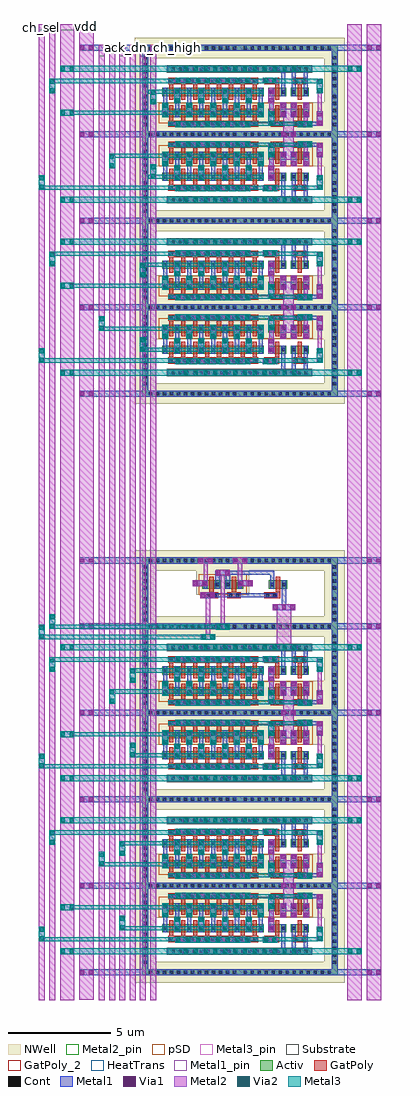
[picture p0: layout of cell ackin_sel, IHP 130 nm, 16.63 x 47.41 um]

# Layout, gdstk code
from math import pi, radians
import gdstk
lib = gdstk.Library(unit=1e-6, precision=1e-09)
def R(c, l, rs):  # rectangles x0, y0, x1, y1
    for r in rs: c.add(gdstk.rectangle(r[:2], r[2:], *l))
def A(c, l, x, y, w, h, nx, ny, dx, dy):  # array of equal rectangles
    R(c, l, [(x+i*dx, y+j*dy, x+i*dx+w, y+j*dy+h) for i in range(nx) for j in range(ny)])
def P(c, l, *ps):  # polygons
    for p in ps: c.add(gdstk.Polygon(p, *l))
Activ = (1, 0)
GatPoly = (5, 0)
GatPoly_2 = (5, 2)
Cont = (6, 0)
Metal1 = (8, 0)
Metal1_pin = (8, 2)
Metal2 = (10, 0)
Metal2_pin = (10, 2)
pSD = (14, 0)
Via1 = (19, 0)
Via2 = (29, 0)
Metal3 = (30, 0)
Metal3_pin = (30, 2)
NWell = (31, 0)
Substrate = (40, 0)
HeatTrans = (51, 0)

nmos = lib.new_cell('nmos')
R(nmos, Activ, [(0,0,0.3,0.3), (0,0,0.88,0.4), (0.58,0,0.88,0.3)])
R(nmos, GatPoly, [(0.34,-0.18,0.54,0.58)])
R(nmos, GatPoly_2, [(0.34,-0.18,0.54,0.58)])
R(nmos, Cont, [(0.07,0.12,0.23,0.28), (0.65,0.12,0.81,0.28)])
R(nmos, Metal1, [(0.07,0,0.23,0.4), (0.65,0,0.81,0.4)])
R(nmos, Metal1_pin, [(0.07,0,0.23,0.4), (0.65,0,0.81,0.4)])
R(nmos, HeatTrans, [(0.34,-0.18,0.54,0.58)])
nmos.add(gdstk.Label('nmos', (0.44,0.2), layer=63, texttype=0))
nmos.add(gdstk.Label('nmos', (0.44,0.2), layer=51, texttype=0))

pmos = lib.new_cell('pmos')
R(pmos, Activ, [(0,0,0.3,0.3), (0,0,0.88,0.4), (0.58,0,0.88,0.3)])
R(pmos, GatPoly, [(0.34,-0.18,0.54,0.58), (0.34,-0.18,0.54,0.58)])
R(pmos, Cont, [(0.07,0.12,0.23,0.28), (0.65,0.12,0.81,0.28)])
R(pmos, Metal1, [(0.07,0,0.23,0.4), (0.07,0,0.23,0.4), (0.65,0,0.81,0.4), (0.65,0,0.81,0.4)])
R(pmos, pSD, [(-0.18,-0.3,1.06,0.7)])
R(pmos, NWell, [(-0.31,-0.31,1.19,0.71)])
R(pmos, Substrate, [(0.58,0,0.88,0.3)])
R(pmos, HeatTrans, [(0.34,-0.18,0.54,0.58)])
pmos.add(gdstk.Label('pmos', (0.44,0.2), layer=63, texttype=0))
pmos.add(gdstk.Label('pmos', (0.44,0.2), layer=51, texttype=0))

viagpcont_m1 = lib.new_cell('ViaGPCont_M1')
R(viagpcont_m1, GatPoly, [(-2.19,-0.15,2.19,0.15)])
A(viagpcont_m1, Cont, -2.12, -0.08, 0.16, 0.16, 13, 1, 0.34, 0)
R(viagpcont_m1, Metal1, [(-2.17,-0.08,2.17,0.08)])

viagpcont_m1_1 = lib.new_cell('ViaGPCont_M1$1')
R(viagpcont_m1_1, GatPoly, [(-0.32,-0.15,0.32,0.15)])
R(viagpcont_m1_1, Cont, [(-0.25,-0.08,-0.09,0.08), (0.09,-0.08,0.25,0.08)])
R(viagpcont_m1_1, Metal1, [(-0.3,-0.08,0.3,0.08)])

via_stack = lib.new_cell('via_stack')
R(via_stack, Metal1, [(-0.145,-0.35,0.145,0.35)])
R(via_stack, Metal2, [(-0.145,-0.35,0.145,0.35)])
R(via_stack, Via1, [(-0.095,-0.3,0.095,-0.11), (-0.095,0.11,0.095,0.3)])
R(via_stack, Via2, [(-0.095,-0.3,0.095,-0.11), (-0.095,0.11,0.095,0.3)])
R(via_stack, Metal3, [(-0.145,-0.35,0.145,0.35)])

via_stack_1 = lib.new_cell('via_stack$1')
R(via_stack_1, Metal1, [(-0.145,-1.825,0.145,1.825)])
R(via_stack_1, Metal2, [(-0.145,-1.825,0.145,1.825)])
A(via_stack_1, Via1, -0.095, -1.775, 0.19, 0.19, 1, 8, 0, 0.48)
A(via_stack_1, Via2, -0.095, -1.775, 0.19, 0.19, 1, 8, 0, 0.48)
R(via_stack_1, Metal3, [(-0.145,-1.825,0.145,1.825)])

via_stack_2 = lib.new_cell('via_stack$2')
R(via_stack_2, Metal1, [(-0.145,-0.35,0.145,0.35)])
R(via_stack_2, Metal2, [(-0.145,-0.35,0.145,0.35)])
R(via_stack_2, Via1, [(-0.095,-0.3,0.095,-0.11), (-0.095,0.11,0.095,0.3)])

via_stack_3 = lib.new_cell('via_stack$3')
R(via_stack_3, Metal2, [(-0.145,-0.35,0.145,0.35)])
R(via_stack_3, Via2, [(-0.095,-0.3,0.095,-0.11), (-0.095,0.11,0.095,0.3)])
R(via_stack_3, Metal3, [(-0.145,-0.35,0.145,0.35)])

via_stack_4 = lib.new_cell('via_stack$4')
R(via_stack_4, Metal2, [(-0.35,-0.145,0.35,0.145)])
R(via_stack_4, Via2, [(-0.3,-0.095,-0.11,0.095), (0.11,-0.095,0.3,0.095)])
R(via_stack_4, Metal3, [(-0.35,-0.145,0.35,0.145)])

via_stack_5 = lib.new_cell('via_stack$5')
R(via_stack_5, Metal1, [(-0.35,-0.145,0.35,0.145)])
R(via_stack_5, Metal2, [(-0.35,-0.145,0.35,0.145)])
R(via_stack_5, Via1, [(-0.3,-0.095,-0.11,0.095), (0.11,-0.095,0.3,0.095)])
R(via_stack_5, Via2, [(-0.3,-0.095,-0.11,0.095), (0.11,-0.095,0.3,0.095)])
R(via_stack_5, Metal3, [(-0.35,-0.145,0.35,0.145)])

ptap = lib.new_cell('PTap')
R(ptap, Activ, [(-3.5,-0.15,3.5,0.15)])
A(ptap, Cont, -3.31, -0.08, 0.16, 0.16, 20, 1, 0.34, 0)
R(ptap, Metal1, [(-3.5,-0.15,3.5,0.15)])
R(ptap, pSD, [(-3.53,-0.18,3.53,0.18)])
R(ptap, Substrate, [(-3.53,-0.18,3.53,0.18)])

via_stack_6 = lib.new_cell('via_stack$6')
R(via_stack_6, Metal1, [(-0.35,-0.145,0.35,0.145)])
R(via_stack_6, Metal2, [(-0.35,-0.145,0.35,0.145)])
R(via_stack_6, Via1, [(-0.3,-0.095,-0.11,0.095), (0.11,-0.095,0.3,0.095)])

guardring_wonwellpsub = lib.new_cell('Guardring_wonwellpsub')
P(guardring_wonwellpsub, Activ, [(-4.75,-2.25),(-4.75,1.95),(-4.45,1.95),(-4.45,-1.95),(4.45,-1.95),(4.45,1.95),(-4.75,1.95),(-4.75,2.25),(4.75,2.25),(4.75,-2.25)])
A(guardring_wonwellpsub, Cont, -4.42, -2.18, 0.16, 0.16, 13, 2, 0.34, 4.2)
A(guardring_wonwellpsub, Cont, 0.18, -2.18, 0.16, 0.16, 13, 2, 0.34, 4.2)
A(guardring_wonwellpsub, Cont, -4.68, -1.7, 0.16, 0.16, 1, 5, 0, 0.34)
A(guardring_wonwellpsub, Cont, 4.52, -1.7, 0.16, 0.16, 1, 5, 0, 0.34)
A(guardring_wonwellpsub, Cont, -4.68, 0.18, 0.16, 0.16, 1, 5, 0, 0.34)
A(guardring_wonwellpsub, Cont, 4.52, 0.18, 0.16, 0.16, 1, 5, 0, 0.34)
P(guardring_wonwellpsub, Metal1, [(-4.75,-2.25),(-4.75,1.95),(-4.45,1.95),(-4.45,-1.95),(4.45,-1.95),(4.45,1.95),(-4.75,1.95),(-4.75,2.25),(4.75,2.25),(4.75,-2.25)])

tgate = lib.new_cell('tgate')
R(tgate, GatPoly, [(6.67,1.96,6.77,2.26)])
R(tgate, Metal1_pin, [(1.335,1.37,1.635,1.67), (0.4,4.55,0.7,4.85)])
R(tgate, Metal3_pin, [(0.4,2.01,0.6,2.21), (0.4,2.54,0.6,2.74), (0.4,3.56,0.6,3.76)])
R(tgate, NWell, [(-0.25,0,0.75,3.15), (0.75,0,8.95,1), (8.95,0,9.95,3.15), (-0.25,3.15,9.95,5.2)])
tgate.add(gdstk.FlexPath([(1.225,3.86),(1.225,2.44)], 0.2, ends="flush", simple_path=True, layer=8, datatype=0))  # Metal1
tgate.add(gdstk.FlexPath([(1.805,3.86),(1.805,2.44)], 0.2, ends="flush", simple_path=True, layer=8, datatype=0))  # Metal1
tgate.add(gdstk.FlexPath([(2.385,3.86),(2.385,2.44)], 0.2, ends="flush", simple_path=True, layer=8, datatype=0))  # Metal1
tgate.add(gdstk.FlexPath([(2.965,3.86),(2.965,2.44)], 0.2, ends="flush", simple_path=True, layer=8, datatype=0))  # Metal1
tgate.add(gdstk.FlexPath([(3.545,3.86),(3.545,2.44)], 0.2, ends="flush", simple_path=True, layer=8, datatype=0))  # Metal1
tgate.add(gdstk.FlexPath([(4.125,3.86),(4.125,2.44)], 0.2, ends="flush", simple_path=True, layer=8, datatype=0))  # Metal1
tgate.add(gdstk.FlexPath([(4.705,3.86),(4.705,2.44)], 0.2, ends="flush", simple_path=True, layer=8, datatype=0))  # Metal1
tgate.add(gdstk.FlexPath([(5.285,3.86),(5.285,2.44)], 0.2, ends="flush", simple_path=True, layer=8, datatype=0))  # Metal1
tgate.add(gdstk.FlexPath([(5.865,3.86),(5.865,2.44)], 0.2, ends="flush", simple_path=True, layer=8, datatype=0))  # Metal1
tgate.add(gdstk.FlexPath([(6.38,3.86),(6.38,2.44)], 0.2, ends="flush", simple_path=True, layer=8, datatype=0))  # Metal1
tgate.add(gdstk.FlexPath([(8.05,2.84),(8.05,1.37)], 0.2, ends="flush", simple_path=True, layer=8, datatype=0))  # Metal1
tgate.add(gdstk.FlexPath([(6.26,4.19),(8.82,4.19)], 0.2, ends="flush", simple_path=True, layer=8, datatype=0))  # Metal1
tgate.add(gdstk.FlexPath([(7.47,2.84),(7.47,1.37)], 0.2, ends="flush", simple_path=True, layer=8, datatype=0))  # Metal1
tgate.add(gdstk.FlexPath([(7.76,2.11),(8.135,2.11)], 0.2, ends="flush", simple_path=True, layer=8, datatype=0))  # Metal1
tgate.add(gdstk.FlexPath([(7.76,2.11),(7.37,2.11)], 0.2, ends="flush", simple_path=True, layer=8, datatype=0))  # Metal1
tgate.add(gdstk.FlexPath([(6.96,2.84),(6.96,1.37)], 0.2, ends="flush", simple_path=True, layer=8, datatype=0))  # Metal1
tgate.add(gdstk.FlexPath([(8.72,2.01),(8.72,4.29)], 0.2, ends="flush", simple_path=True, layer=10, datatype=0))  # Metal2
tgate.add(gdstk.FlexPath([(7.205,3.46),(7.205,4.845)], 0.5, ends="flush", simple_path=True, layer=10, datatype=0))  # Metal2
tgate.add(gdstk.FlexPath([(6.38,2.44),(6.38,4.29)], 0.2, ends="flush", simple_path=True, layer=10, datatype=0))  # Metal2
tgate.add(gdstk.FlexPath([(8.05,3.46),(8.05,4.29)], 0.2, ends="flush", simple_path=True, layer=10, datatype=0))  # Metal2
tgate.add(gdstk.FlexPath([(6.015,3.66),(0.4,3.66)], 0.2, ends="flush", simple_path=True, layer=30, datatype=0))  # Metal3
tgate.add(gdstk.FlexPath([(6.015,2.64),(0.4,2.64)], 0.2, ends="flush", simple_path=True, layer=30, datatype=0))  # Metal3
tgate.add(gdstk.FlexPath([(5.715,2.11),(0.4,2.11)], 0.2, ends="flush", simple_path=True, layer=30, datatype=0))  # Metal3
tgate.add(gdstk.FlexPath([(8.15,4.19),(1.375,4.19)], 0.2, ends="flush", simple_path=True, layer=30, datatype=0))  # Metal3
tgate.add(gdstk.FlexPath([(6,2.11),(8.82,2.11)], 0.2, ends="flush", simple_path=True, layer=30, datatype=0))  # Metal3
tgate.add(gdstk.FlexPath([(5.715,2.11),(6.015,2.11)], 0.2, ends="flush", simple_path=True, layer=30, datatype=0))  # Metal3
tgate.add(gdstk.Reference(nmos, (1.075,2.44)))
tgate.add(gdstk.Reference(nmos, (1.655,2.44)))
tgate.add(gdstk.Reference(nmos, (2.235,2.44)))
tgate.add(gdstk.Reference(nmos, (2.815,2.44)))
tgate.add(gdstk.Reference(nmos, (3.975,2.44)))
tgate.add(gdstk.Reference(nmos, (4.555,2.44)))
tgate.add(gdstk.Reference(nmos, (5.135,2.44)))
tgate.add(gdstk.Reference(pmos, (1.075,3.46)))
tgate.add(gdstk.Reference(pmos, (1.655,3.46)))
tgate.add(gdstk.Reference(pmos, (2.235,3.46)))
tgate.add(gdstk.Reference(pmos, (2.815,3.46)))
tgate.add(gdstk.Reference(pmos, (3.395,3.46)))
tgate.add(gdstk.Reference(pmos, (3.975,3.46)))
tgate.add(gdstk.Reference(pmos, (4.555,3.46)))
tgate.add(gdstk.Reference(pmos, (7.11,3.46), rotation=pi, x_reflection=True))
tgate.add(gdstk.Reference(pmos, (5.135,3.46)))
tgate.add(gdstk.Reference(pmos, (7.32,3.46)))
tgate.add(gdstk.Reference(nmos, (3.395,2.44)))
tgate.add(gdstk.Reference(nmos, (7.11,2.44), rotation=pi, x_reflection=True))
tgate.add(gdstk.Reference(nmos, (7.32,2.44)))
tgate.add(gdstk.Reference(viagpcont_m1, (3.545,4.19)))
tgate.add(gdstk.Reference(viagpcont_m1, (3.545,2.11)))
tgate.add(gdstk.Reference(viagpcont_m1_1, (6.67,4.19), rotation=pi, x_reflection=True))
tgate.add(gdstk.Reference(viagpcont_m1_1, (7.76,4.19)))
tgate.add(gdstk.Reference(via_stack, (1.225,3.51)))
tgate.add(gdstk.Reference(via_stack, (1.805,2.84)))
tgate.add(gdstk.Reference(via_stack, (2.385,3.51)))
tgate.add(gdstk.Reference(via_stack, (3.545,3.51)))
tgate.add(gdstk.Reference(via_stack, (4.705,3.51)))
tgate.add(gdstk.Reference(via_stack, (5.865,3.51)))
tgate.add(gdstk.Reference(via_stack, (2.965,2.84)))
tgate.add(gdstk.Reference(via_stack, (4.125,2.84)))
tgate.add(gdstk.Reference(via_stack, (5.285,2.84)))
tgate.add(gdstk.Reference(via_stack_1, (3.53,4.215), rotation=3*pi/2))
tgate.add(gdstk.Reference(via_stack_1, (3.53,2.085), rotation=3*pi/2))
tgate.add(gdstk.Reference(via_stack_2, (6.38,2.84), rotation=pi, x_reflection=True))
tgate.add(gdstk.Reference(via_stack_2, (8.06,3.51)))
tgate.add(gdstk.Reference(via_stack_3, (6.38,3.94), rotation=pi, x_reflection=True))
tgate.add(gdstk.Reference(via_stack_4, (8.015,4.215)))
tgate.add(gdstk.Reference(via_stack_2, (7.47,3.51)))
tgate.add(gdstk.Reference(viagpcont_m1_1, (7.76,2.11)))
tgate.add(gdstk.Reference(via_stack_2, (6.96,3.51), rotation=pi, x_reflection=True))
tgate.add(gdstk.Reference(via_stack_5, (6.3,2.085), rotation=pi, x_reflection=True))
tgate.add(gdstk.Reference(via_stack_2, (8.72,3.94)))
tgate.add(gdstk.Reference(viagpcont_m1_1, (6.35,2.11)))
tgate.add(gdstk.Reference(via_stack_3, (8.72,2.36)))
tgate.add(gdstk.Reference(ptap, (4.835,1.52)))
tgate.add(gdstk.Reference(via_stack_6, (7.205,4.7)))
tgate.add(gdstk.Reference(guardring_wonwellpsub, (4.85,2.6)))
tgate.add(gdstk.Label('sel', (0.5,2.11), layer=30, texttype=25))
tgate.add(gdstk.Label('out', (0.5,2.64), layer=30, texttype=25))
tgate.add(gdstk.Label('in', (0.5,3.66), layer=30, texttype=25))
tgate.add(gdstk.Label('vdd', (0.55,4.7), layer=8, texttype=25))
tgate.add(gdstk.Label('vss', (1.485,1.52), layer=8, texttype=25))

via_stack_4_1 = lib.new_cell('via_stack$4$1')
R(via_stack_4_1, Metal2, [(-0.35,-0.145,0.35,0.145)])
R(via_stack_4_1, Via2, [(-0.3,-0.095,-0.11,0.095), (0.11,-0.095,0.3,0.095)])
R(via_stack_4_1, Metal3, [(-0.35,-0.145,0.35,0.145)])

via_stack_6_3 = lib.new_cell('via_stack$6$3')
R(via_stack_6_3, Metal1, [(-0.35,-0.145,0.35,0.145)])
R(via_stack_6_3, Metal2, [(-0.35,-0.145,0.35,0.145)])
R(via_stack_6_3, Via1, [(-0.3,-0.095,-0.11,0.095), (0.11,-0.095,0.3,0.095)])

via_stack_3_4 = lib.new_cell('via_stack$3$4')
R(via_stack_3_4, Metal2, [(-0.145,-0.35,0.145,0.35)])
R(via_stack_3_4, Via2, [(-0.095,-0.3,0.095,-0.11), (-0.095,0.11,0.095,0.3)])
R(via_stack_3_4, Metal3, [(-0.145,-0.35,0.145,0.35)])

via_stack_3_1 = lib.new_cell('via_stack$3$1')
R(via_stack_3_1, Metal1, [(-2.785,-0.145,2.785,0.145)])
R(via_stack_3_1, Metal2, [(-2.785,-0.145,2.785,0.145)])
A(via_stack_3_1, Via1, -2.735, -0.095, 0.19, 0.19, 12, 1, 0.48, 0)
A(via_stack_3_1, Via2, -2.735, -0.095, 0.19, 0.19, 12, 1, 0.48, 0)
R(via_stack_3_1, Metal3, [(-2.785,-0.145,2.785,0.145)])

nmos_2 = lib.new_cell('nmos$2')
R(nmos_2, Activ, [(0,0,0.3,0.3), (0,0,0.88,0.4), (0.58,0,0.88,0.3)])
R(nmos_2, GatPoly, [(0.34,-0.18,0.54,0.58)])
R(nmos_2, GatPoly_2, [(0.34,-0.18,0.54,0.58)])
R(nmos_2, Cont, [(0.07,0.12,0.23,0.28), (0.65,0.12,0.81,0.28)])
R(nmos_2, Metal1, [(0.07,0,0.23,0.4), (0.65,0,0.81,0.4)])
R(nmos_2, Metal1_pin, [(0.07,0,0.23,0.4), (0.65,0,0.81,0.4)])
R(nmos_2, HeatTrans, [(0.34,-0.18,0.54,0.58)])
nmos_2.add(gdstk.Label('nmos', (0.44,0.2), layer=63, texttype=0))
nmos_2.add(gdstk.Label('nmos', (0.44,0.2), layer=51, texttype=0))

guardring_wonwellpsub_3 = lib.new_cell('Guardring_wonwellpsub$3')
P(guardring_wonwellpsub_3, Activ, [(-4.75,-1.75),(-4.75,1.45),(-4.45,1.45),(-4.45,-1.45),(4.45,-1.45),(4.45,1.45),(-4.75,1.45),(-4.75,1.75),(4.75,1.75),(4.75,-1.75)])
A(guardring_wonwellpsub_3, Cont, -4.42, -1.68, 0.16, 0.16, 13, 2, 0.34, 3.2)
A(guardring_wonwellpsub_3, Cont, 0.18, -1.68, 0.16, 0.16, 13, 2, 0.34, 3.2)
A(guardring_wonwellpsub_3, Cont, -4.68, -1.36, 0.16, 0.16, 1, 4, 0, 0.34)
A(guardring_wonwellpsub_3, Cont, 4.52, -1.36, 0.16, 0.16, 1, 4, 0, 0.34)
A(guardring_wonwellpsub_3, Cont, -4.68, 0.18, 0.16, 0.16, 1, 4, 0, 0.34)
A(guardring_wonwellpsub_3, Cont, 4.52, 0.18, 0.16, 0.16, 1, 4, 0, 0.34)
P(guardring_wonwellpsub_3, Metal1, [(-4.75,-1.75),(-4.75,1.45),(-4.45,1.45),(-4.45,-1.45),(4.45,-1.45),(4.45,1.45),(-4.75,1.45),(-4.75,1.75),(4.75,1.75),(4.75,-1.75)])

via_stack_3_2 = lib.new_cell('via_stack$3$2')
R(via_stack_3_2, Metal1, [(-0.555,-0.145,0.555,0.145)])
R(via_stack_3_2, Metal2, [(-0.555,-0.145,0.555,0.145)])
A(via_stack_3_2, Via1, -0.505, -0.095, 0.19, 0.19, 3, 1, 0.41, 0)

pmos_2 = lib.new_cell('pmos$2')
R(pmos_2, Activ, [(0,0,0.3,0.3), (0,0,0.88,0.4), (0.58,0,0.88,0.3)])
R(pmos_2, GatPoly, [(0.34,-0.18,0.54,0.58), (0.34,-0.18,0.54,0.58)])
R(pmos_2, Cont, [(0.07,0.12,0.23,0.28), (0.65,0.12,0.81,0.28)])
R(pmos_2, Metal1, [(0.07,0,0.23,0.4), (0.07,0,0.23,0.4), (0.65,0,0.81,0.4), (0.65,0,0.81,0.4)])
R(pmos_2, pSD, [(-0.18,-0.3,1.06,0.7)])
R(pmos_2, NWell, [(-0.31,-0.31,1.19,0.71)])
R(pmos_2, Substrate, [(0.58,0,0.88,0.3)])
R(pmos_2, HeatTrans, [(0.34,-0.18,0.54,0.58)])
pmos_2.add(gdstk.Label('pmos', (0.44,0.2), layer=63, texttype=0))
pmos_2.add(gdstk.Label('pmos', (0.44,0.2), layer=51, texttype=0))

ackin_sel = lib.new_cell('ackin_sel')
R(ackin_sel, GatPoly, [(6.93,18.66,7.05,18.96)])
A(ackin_sel, Metal2_pin, -1.76, 44.99, 0.29, 0.29, 3, 1, 1, 0)
A(ackin_sel, Metal2_pin, -1.26, 45.265, 0.29, 0.29, 3, 1, 1, 0)
R(ackin_sel, Metal2_pin, [(-4.67,46.26,-4.38,46.55), (-4.17,46.26,-3.88,46.55), (-3.64,46.26,-2.94,46.55), (-2.7,46.275,-2,46.565)])
R(ackin_sel, NWell, [(0,17.8,1,21), (9.2,17.8,10.2,21), (2.97,18.83,5.56,20), (1,20,9.2,21)])
ackin_sel.add(gdstk.FlexPath([(-2.35,4.7),(-2.7,4.7)], 0.3, ends="flush", simple_path=True, layer=8, datatype=0))  # Metal1
ackin_sel.add(gdstk.FlexPath([(-2.35,0.5),(-2.7,0.5)], 0.3, ends="flush", simple_path=True, layer=8, datatype=0))  # Metal1
ackin_sel.add(gdstk.FlexPath([(6.66,20),(6.66,19.14)], 0.2, ends="flush", simple_path=True, layer=8, datatype=0))  # Metal1
ackin_sel.add(gdstk.FlexPath([(0.65,20.5),(-2.7,20.5)], 0.3, ends="flush", simple_path=True, layer=8, datatype=0))  # Metal1
ackin_sel.add(gdstk.FlexPath([(11.96,20.5),(9.55,20.5)], 0.3, ends="flush", simple_path=True, layer=8, datatype=0))  # Metal1
ackin_sel.add(gdstk.FlexPath([(6.91,18.81),(3.42,18.81)], 0.2, ends="flush", simple_path=True, layer=8, datatype=0))  # Metal1
ackin_sel.add(gdstk.FlexPath([(7.24,19.54),(7.24,18.08)], 0.2, ends="flush", simple_path=True, layer=8, datatype=0))  # Metal1
ackin_sel.add(gdstk.FlexPath([(4.01,19.14),(4.01,20)], 0.2, ends="flush", simple_path=True, layer=8, datatype=0))  # Metal1
ackin_sel.add(gdstk.FlexPath([(4.52,19.14),(4.52,20)], 0.2, ends="flush", simple_path=True, layer=8, datatype=0))  # Metal1
ackin_sel.add(gdstk.FlexPath([(3.91,19.9),(6.76,19.9)], 0.2, ends="flush", simple_path=True, layer=8, datatype=0))  # Metal1
ackin_sel.add(gdstk.FlexPath([(0.53,45.405),(-2.7,45.405)], 0.3, ends="flush", simple_path=True, layer=8, datatype=0))  # Metal1
ackin_sel.add(gdstk.FlexPath([(0.53,41.205),(-2.7,41.205)], 0.3, ends="flush", simple_path=True, layer=8, datatype=0))  # Metal1
ackin_sel.add(gdstk.FlexPath([(0.53,37.005),(-2.7,37.005)], 0.3, ends="flush", simple_path=True, layer=8, datatype=0))  # Metal1
ackin_sel.add(gdstk.FlexPath([(0.53,32.805),(-2.7,32.805)], 0.3, ends="flush", simple_path=True, layer=8, datatype=0))  # Metal1
ackin_sel.add(gdstk.FlexPath([(0.53,28.605),(-2.7,28.605)], 0.3, ends="flush", simple_path=True, layer=8, datatype=0))  # Metal1
ackin_sel.add(gdstk.FlexPath([(11.96,45.405),(9.55,45.405)], 0.3, ends="flush", simple_path=True, layer=8, datatype=0))  # Metal1
ackin_sel.add(gdstk.FlexPath([(11.96,41.205),(9.55,41.205)], 0.3, ends="flush", simple_path=True, layer=8, datatype=0))  # Metal1
ackin_sel.add(gdstk.FlexPath([(11.96,37.005),(9.55,37.005)], 0.3, ends="flush", simple_path=True, layer=8, datatype=0))  # Metal1
ackin_sel.add(gdstk.FlexPath([(11.96,32.805),(9.55,32.805)], 0.3, ends="flush", simple_path=True, layer=8, datatype=0))  # Metal1
ackin_sel.add(gdstk.FlexPath([(11.96,28.605),(9.55,28.605)], 0.3, ends="flush", simple_path=True, layer=8, datatype=0))  # Metal1
ackin_sel.add(gdstk.FlexPath([(0.53,17.3),(-2.7,17.3)], 0.3, ends="flush", simple_path=True, layer=8, datatype=0))  # Metal1
ackin_sel.add(gdstk.FlexPath([(0.53,13.1),(-2.7,13.1)], 0.3, ends="flush", simple_path=True, layer=8, datatype=0))  # Metal1
ackin_sel.add(gdstk.FlexPath([(0.53,8.9),(-2.7,8.9)], 0.3, ends="flush", simple_path=True, layer=8, datatype=0))  # Metal1
ackin_sel.add(gdstk.FlexPath([(0.53,4.7),(-2.7,4.7)], 0.3, ends="flush", simple_path=True, layer=8, datatype=0))  # Metal1
ackin_sel.add(gdstk.FlexPath([(0.53,0.5),(-2.7,0.5)], 0.3, ends="flush", simple_path=True, layer=8, datatype=0))  # Metal1
ackin_sel.add(gdstk.FlexPath([(11.96,17.3),(9.55,17.3)], 0.3, ends="flush", simple_path=True, layer=8, datatype=0))  # Metal1
ackin_sel.add(gdstk.FlexPath([(11.96,13.1),(9.55,13.1)], 0.3, ends="flush", simple_path=True, layer=8, datatype=0))  # Metal1
ackin_sel.add(gdstk.FlexPath([(11.96,8.9),(9.55,8.9)], 0.3, ends="flush", simple_path=True, layer=8, datatype=0))  # Metal1
ackin_sel.add(gdstk.FlexPath([(11.96,4.7),(9.55,4.7)], 0.3, ends="flush", simple_path=True, layer=8, datatype=0))  # Metal1
ackin_sel.add(gdstk.FlexPath([(11.96,0.5),(9.55,0.5)], 0.3, ends="flush", simple_path=True, layer=8, datatype=0))  # Metal1
ackin_sel.add(gdstk.FlexPath([(3.55,18.81),(3.55,16.64)], 0.2, ends="flush", simple_path=True, layer=10, datatype=0))  # Metal2
ackin_sel.add(gdstk.FlexPath([(4.265,19.9),(4.265,17.14)], 0.2, ends="flush", simple_path=True, layer=10, datatype=0))  # Metal2
ackin_sel.add(gdstk.FlexPath([(-1.615,45.555),(-1.615,-0.85)], 0.29, ends="flush", simple_path=True, layer=10, datatype=0))  # Metal2
ackin_sel.add(gdstk.FlexPath([(-1.115,45.555),(-1.115,-0.85)], 0.29, ends="flush", simple_path=True, layer=10, datatype=0))  # Metal2
ackin_sel.add(gdstk.FlexPath([(-0.615,45.555),(-0.615,-0.85)], 0.29, ends="flush", simple_path=True, layer=10, datatype=0))  # Metal2
ackin_sel.add(gdstk.FlexPath([(-0.115,45.555),(-0.115,-0.85)], 0.29, ends="flush", simple_path=True, layer=10, datatype=0))  # Metal2
ackin_sel.add(gdstk.FlexPath([(0.385,45.555),(0.385,-0.85)], 0.29, ends="flush", simple_path=True, layer=10, datatype=0))  # Metal2
ackin_sel.add(gdstk.FlexPath([(0.885,45.555),(0.885,-0.85)], 0.29, ends="flush", simple_path=True, layer=10, datatype=0))  # Metal2
ackin_sel.add(gdstk.FlexPath([(7.24,18.37),(7.24,16.13)], 0.7, ends="flush", simple_path=True, layer=10, datatype=0))  # Metal2
ackin_sel.add(gdstk.FlexPath([(5.1,20.65),(5.1,19.25)], 0.2, ends="flush", simple_path=True, layer=10, datatype=0))  # Metal2
ackin_sel.add(gdstk.FlexPath([(3.43,20.65),(3.43,19.25)], 0.2, ends="flush", simple_path=True, layer=10, datatype=0))  # Metal2
ackin_sel.add(gdstk.FlexPath([(-4.525,46.55),(-4.525,-0.85)], 0.29, ends="flush", simple_path=True, layer=10, datatype=0))  # Metal2
ackin_sel.add(gdstk.FlexPath([(-4.025,46.55),(-4.025,-0.85)], 0.29, ends="flush", simple_path=True, layer=10, datatype=0))  # Metal2
ackin_sel.add(gdstk.FlexPath([(-3.29,46.55),(-3.29,-0.85)], 0.7, ends="flush", simple_path=True, layer=10, datatype=0))  # Metal2
ackin_sel.add(gdstk.FlexPath([(-2.35,46.565),(-2.35,-0.835)], 0.7, ends="flush", simple_path=True, layer=10, datatype=0))  # Metal2
ackin_sel.add(gdstk.FlexPath([(10.67,46.55),(10.67,-0.85)], 0.7, ends="flush", simple_path=True, layer=10, datatype=0))  # Metal2
ackin_sel.add(gdstk.FlexPath([(11.61,46.55),(11.61,-0.85)], 0.7, ends="flush", simple_path=True, layer=10, datatype=0))  # Metal2
ackin_sel.add(gdstk.FlexPath([(3.885,16.785),(-4.67,16.785)], 0.2, ends="flush", simple_path=True, layer=30, datatype=0))  # Metal3
ackin_sel.add(gdstk.FlexPath([(4.365,17.285),(-4.17,17.285)], 0.2, ends="flush", simple_path=True, layer=30, datatype=0))  # Metal3
ackin_sel.add(gdstk.FlexPath([(-3.29,1.52),(-3.64,1.52)], 0.3, ends="flush", simple_path=True, layer=30, datatype=0))  # Metal3
ackin_sel.add(gdstk.FlexPath([(0.65,2.11),(-4.67,2.11)], 0.2, ends="flush", simple_path=True, layer=30, datatype=0))  # Metal3
ackin_sel.add(gdstk.FlexPath([(0.65,33.845),(-3.64,33.845)], 0.2, ends="flush", simple_path=True, layer=30, datatype=0))  # Metal3
ackin_sel.add(gdstk.FlexPath([(0.65,31.765),(-1.76,31.765)], 0.2, ends="flush", simple_path=True, layer=30, datatype=0))  # Metal3
ackin_sel.add(gdstk.FlexPath([(0.65,42.245),(-3.64,42.245)], 0.2, ends="flush", simple_path=True, layer=30, datatype=0))  # Metal3
ackin_sel.add(gdstk.FlexPath([(0.65,40.165),(-1.26,40.165)], 0.2, ends="flush", simple_path=True, layer=30, datatype=0))  # Metal3
ackin_sel.add(gdstk.FlexPath([(0.65,3.66),(-3.64,3.66)], 0.2, ends="flush", simple_path=True, layer=30, datatype=0))  # Metal3
ackin_sel.add(gdstk.FlexPath([(0.65,5.74),(-1.76,5.74)], 0.2, ends="flush", simple_path=True, layer=30, datatype=0))  # Metal3
ackin_sel.add(gdstk.FlexPath([(0.65,6.76),(-0.76,6.76)], 0.2, ends="flush", simple_path=True, layer=30, datatype=0))  # Metal3
ackin_sel.add(gdstk.FlexPath([(0.65,2.64),(-0.76,2.64)], 0.2, ends="flush", simple_path=True, layer=30, datatype=0))  # Metal3
ackin_sel.add(gdstk.FlexPath([(0.65,14.14),(-1.26,14.14)], 0.2, ends="flush", simple_path=True, layer=30, datatype=0))  # Metal3
ackin_sel.add(gdstk.FlexPath([(11.02,44.385),(-3.64,44.385)], 0.3, ends="flush", simple_path=True, layer=30, datatype=0))  # Metal3
ackin_sel.add(gdstk.FlexPath([(11.02,38.025),(-3.64,38.025)], 0.3, ends="flush", simple_path=True, layer=30, datatype=0))  # Metal3
ackin_sel.add(gdstk.FlexPath([(11.02,35.985),(-3.64,35.985)], 0.3, ends="flush", simple_path=True, layer=30, datatype=0))  # Metal3
ackin_sel.add(gdstk.FlexPath([(11.02,29.625),(-3.64,29.625)], 0.3, ends="flush", simple_path=True, layer=30, datatype=0))  # Metal3
ackin_sel.add(gdstk.FlexPath([(11.02,16.28),(-3.64,16.28)], 0.3, ends="flush", simple_path=True, layer=30, datatype=0))  # Metal3
ackin_sel.add(gdstk.FlexPath([(11.02,9.92),(-3.64,9.92)], 0.3, ends="flush", simple_path=True, layer=30, datatype=0))  # Metal3
ackin_sel.add(gdstk.FlexPath([(11.02,7.88),(-3.64,7.88)], 0.3, ends="flush", simple_path=True, layer=30, datatype=0))  # Metal3
ackin_sel.add(gdstk.FlexPath([(11.02,1.52),(-3.64,1.52)], 0.3, ends="flush", simple_path=True, layer=30, datatype=0))  # Metal3
ackin_sel.add(gdstk.FlexPath([(0.65,30.215),(-4.67,30.215)], 0.2, ends="flush", simple_path=True, layer=30, datatype=0))  # Metal3
ackin_sel.add(gdstk.FlexPath([(0.65,35.395),(-4.17,35.395)], 0.2, ends="flush", simple_path=True, layer=30, datatype=0))  # Metal3
ackin_sel.add(gdstk.FlexPath([(0.65,38.615),(-4.67,38.615)], 0.2, ends="flush", simple_path=True, layer=30, datatype=0))  # Metal3
ackin_sel.add(gdstk.FlexPath([(0.65,43.795),(-4.17,43.795)], 0.2, ends="flush", simple_path=True, layer=30, datatype=0))  # Metal3
ackin_sel.add(gdstk.FlexPath([(0.65,7.29),(-4.17,7.29)], 0.2, ends="flush", simple_path=True, layer=30, datatype=0))  # Metal3
ackin_sel.add(gdstk.FlexPath([(0.65,10.51),(-4.67,10.51)], 0.2, ends="flush", simple_path=True, layer=30, datatype=0))  # Metal3
ackin_sel.add(gdstk.FlexPath([(0.65,15.69),(-4.17,15.69)], 0.2, ends="flush", simple_path=True, layer=30, datatype=0))  # Metal3
ackin_sel.add(gdstk.FlexPath([(0.65,12.06),(-3.64,12.06)], 0.2, ends="flush", simple_path=True, layer=30, datatype=0))  # Metal3
ackin_sel.add(gdstk.FlexPath([(0.65,11.04),(-0.26,11.04)], 0.2, ends="flush", simple_path=True, layer=30, datatype=0))  # Metal3
ackin_sel.add(gdstk.FlexPath([(0.75,15.16),(-0.26,15.16)], 0.2, ends="flush", simple_path=True, layer=30, datatype=0))  # Metal3
ackin_sel.add(gdstk.FlexPath([(0.65,34.865),(0.24,34.865)], 0.2, ends="flush", simple_path=True, layer=30, datatype=0))  # Metal3
ackin_sel.add(gdstk.FlexPath([(0.65,30.745),(0.24,30.745)], 0.2, ends="flush", simple_path=True, layer=30, datatype=0))  # Metal3
ackin_sel.add(gdstk.Reference(tgate, (0.25,0)))
ackin_sel.add(gdstk.Reference(tgate, (0.25,9.4), x_reflection=True))
ackin_sel.add(gdstk.Reference(tgate, (0.25,8.4)))
ackin_sel.add(gdstk.Reference(tgate, (0.25,17.8), x_reflection=True))
ackin_sel.add(gdstk.Reference(tgate, (0.25,28.105)))
ackin_sel.add(gdstk.Reference(tgate, (0.25,37.505), x_reflection=True))
ackin_sel.add(gdstk.Reference(tgate, (0.25,36.505)))
ackin_sel.add(gdstk.Reference(tgate, (0.25,45.905), x_reflection=True))
ackin_sel.add(gdstk.Reference(via_stack_4_1, (-3.29,44.385)))
ackin_sel.add(gdstk.Reference(via_stack_4_1, (-3.29,38.025)))
ackin_sel.add(gdstk.Reference(via_stack_4_1, (-3.29,35.985)))
ackin_sel.add(gdstk.Reference(via_stack_4_1, (-3.29,29.625)))
ackin_sel.add(gdstk.Reference(via_stack_4_1, (-3.29,16.28)))
ackin_sel.add(gdstk.Reference(via_stack_4_1, (-3.29,9.92)))
ackin_sel.add(gdstk.Reference(via_stack_4_1, (-3.29,7.88)))
ackin_sel.add(gdstk.Reference(via_stack_4_1, (-3.29,1.52)))
ackin_sel.add(gdstk.Reference(via_stack_4_1, (10.67,1.52)))
ackin_sel.add(gdstk.Reference(via_stack_4_1, (10.67,7.88)))
ackin_sel.add(gdstk.Reference(via_stack_4_1, (10.67,9.92)))
ackin_sel.add(gdstk.Reference(via_stack_4_1, (10.67,16.28)))
ackin_sel.add(gdstk.Reference(via_stack_4_1, (10.67,29.625)))
ackin_sel.add(gdstk.Reference(via_stack_4_1, (10.67,35.985)))
ackin_sel.add(gdstk.Reference(via_stack_4_1, (10.67,38.025)))
ackin_sel.add(gdstk.Reference(via_stack_4_1, (10.67,44.385)))
ackin_sel.add(gdstk.Reference(via_stack_4_1, (-4.025,43.545), rotation=3*pi/2))
ackin_sel.add(gdstk.Reference(via_stack_4_1, (-4.025,35.145), rotation=3*pi/2))
ackin_sel.add(gdstk.Reference(via_stack_4_1, (-4.525,38.865), rotation=3*pi/2))
ackin_sel.add(gdstk.Reference(via_stack_4_1, (-4.025,7.04), rotation=3*pi/2))
ackin_sel.add(gdstk.Reference(via_stack_4_1, (-4.025,15.44), rotation=3*pi/2))
ackin_sel.add(gdstk.Reference(via_stack_4_1, (-4.525,10.76), rotation=3*pi/2))
ackin_sel.add(gdstk.Reference(via_stack_6_3, (-2.35,45.405)))
ackin_sel.add(gdstk.Reference(via_stack_6_3, (-2.35,41.205)))
ackin_sel.add(gdstk.Reference(via_stack_6_3, (-2.35,37.005)))
ackin_sel.add(gdstk.Reference(via_stack_6_3, (-2.35,32.805)))
ackin_sel.add(gdstk.Reference(via_stack_6_3, (-2.35,28.605)))
ackin_sel.add(gdstk.Reference(via_stack_6_3, (-2.35,17.3)))
ackin_sel.add(gdstk.Reference(via_stack_6_3, (-2.35,13.1)))
ackin_sel.add(gdstk.Reference(via_stack_6_3, (-2.35,8.9)))
ackin_sel.add(gdstk.Reference(via_stack_6_3, (-2.35,4.7)))
ackin_sel.add(gdstk.Reference(via_stack_6_3, (-2.35,0.5)))
ackin_sel.add(gdstk.Reference(via_stack_6_3, (11.61,0.5)))
ackin_sel.add(gdstk.Reference(via_stack_6_3, (11.61,4.7)))
ackin_sel.add(gdstk.Reference(via_stack_6_3, (11.61,8.9)))
ackin_sel.add(gdstk.Reference(via_stack_6_3, (11.61,13.1)))
ackin_sel.add(gdstk.Reference(via_stack_6_3, (11.61,17.3)))
ackin_sel.add(gdstk.Reference(via_stack_6_3, (11.61,28.605)))
ackin_sel.add(gdstk.Reference(via_stack_6_3, (11.61,32.805)))
ackin_sel.add(gdstk.Reference(via_stack_6_3, (11.61,37.005)))
ackin_sel.add(gdstk.Reference(via_stack_6_3, (11.61,41.205)))
ackin_sel.add(gdstk.Reference(via_stack_6_3, (11.61,45.405)))
ackin_sel.add(gdstk.Reference(via_stack_4_1, (0.385,30.995), rotation=3*pi/2))
ackin_sel.add(gdstk.Reference(via_stack_4_1, (-1.615,32.015), rotation=3*pi/2))
ackin_sel.add(gdstk.Reference(via_stack_4_1, (0.385,34.615), rotation=3*pi/2))
ackin_sel.add(gdstk.Reference(via_stack_3_4, (-3.29,42.245), rotation=3*pi/2))
ackin_sel.add(gdstk.Reference(via_stack_4_1, (0.885,39.395), rotation=3*pi/2))
ackin_sel.add(gdstk.Reference(via_stack_4_1, (0.885,43.015), rotation=3*pi/2))
ackin_sel.add(gdstk.Reference(via_stack_4_1, (-1.115,39.915), rotation=3*pi/2))
ackin_sel.add(gdstk.Reference(via_stack_4_1, (-1.615,5.99), rotation=3*pi/2))
ackin_sel.add(gdstk.Reference(via_stack_4_1, (-0.615,6.51), rotation=3*pi/2))
ackin_sel.add(gdstk.Reference(via_stack_4_1, (-0.115,11.29), rotation=3*pi/2))
ackin_sel.add(gdstk.Reference(via_stack_3_4, (-3.29,12.06), rotation=3*pi/2))
ackin_sel.add(gdstk.Reference(via_stack_4_1, (-1.115,13.89), rotation=3*pi/2))
ackin_sel.add(gdstk.Reference(via_stack_4_1, (-0.115,14.91), rotation=3*pi/2))
ackin_sel.add(gdstk.Reference(via_stack_4_1, (-4.525,30.465), rotation=3*pi/2))
ackin_sel.add(gdstk.Reference(via_stack_3_4, (-3.29,33.845), rotation=3*pi/2))
ackin_sel.add(gdstk.Reference(via_stack_3_4, (-3.29,3.66), rotation=3*pi/2))
ackin_sel.add(gdstk.Reference(via_stack_4_1, (-0.615,2.89), rotation=3*pi/2))
ackin_sel.add(gdstk.Reference(via_stack_3_1, (5.105,1.52)))
ackin_sel.add(gdstk.Reference(via_stack_3_1, (5.105,7.88)))
ackin_sel.add(gdstk.Reference(via_stack_3_1, (5.105,9.92)))
ackin_sel.add(gdstk.Reference(via_stack_3_1, (5.105,16.28)))
ackin_sel.add(gdstk.Reference(via_stack_3_1, (5.105,29.625)))
ackin_sel.add(gdstk.Reference(via_stack_3_1, (5.105,35.985)))
ackin_sel.add(gdstk.Reference(via_stack_3_1, (5.105,38.025)))
ackin_sel.add(gdstk.Reference(via_stack_3_1, (5.105,44.385)))
ackin_sel.add(gdstk.Reference(via_stack_4_1, (-4.525,2.36), rotation=3*pi/2))
ackin_sel.add(gdstk.Reference(nmos_2, (6.51,19.14)))
ackin_sel.add(gdstk.Reference(via_stack_6_3, (4.265,19.9)))
ackin_sel.add(gdstk.Reference(viagpcont_m1_1, (6.61,18.81)))
ackin_sel.add(gdstk.Reference(guardring_wonwellpsub_3, (5.1,18.9)))
ackin_sel.add(gdstk.Reference(via_stack_3_2, (7.24,18.225)))
ackin_sel.add(gdstk.Reference(via_stack_4_1, (-4.525,17.035), rotation=3*pi/2))
ackin_sel.add(gdstk.Reference(via_stack_6_3, (-2.35,20.5)))
ackin_sel.add(gdstk.Reference(via_stack_6_3, (11.61,20.5)))
ackin_sel.add(gdstk.Reference(via_stack_6_3, (3.52,18.81)))
ackin_sel.add(gdstk.Reference(via_stack_4_1, (4.265,17.285)))
ackin_sel.add(gdstk.Reference(pmos_2, (4.37,19.14)))
ackin_sel.add(gdstk.Reference(via_stack_6_3, (5.1,20.5)))
ackin_sel.add(gdstk.Reference(via_stack_6_3, (3.43,20.5)))
ackin_sel.add(gdstk.Reference(viagpcont_m1_1, (4.81,18.81)))
ackin_sel.add(gdstk.Reference(viagpcont_m1_1, (3.72,18.81)))
ackin_sel.add(gdstk.Reference(via_stack_6_3, (3.16,19.395)))
ackin_sel.add(gdstk.Reference(via_stack_6_3, (5.37,19.395)))
ackin_sel.add(gdstk.Reference(pmos_2, (3.28,19.14)))
ackin_sel.add(gdstk.Reference(via_stack_4_1, (-4.025,17.535), rotation=3*pi/2))
ackin_sel.add(gdstk.Reference(via_stack_4_1, (3.555,16.785)))
ackin_sel.add(gdstk.Label('ack_dn_ch_high', (0.885,45.41), layer=10, texttype=25))
ackin_sel.add(gdstk.Label('ack_up_ch_high', (0.385,45.135), layer=10, texttype=25))
ackin_sel.add(gdstk.Label('ack_up_ch_low', (-0.615,45.135), layer=10, texttype=25))
ackin_sel.add(gdstk.Label('ack_dn_in', (-1.115,45.41), layer=10, texttype=25))
ackin_sel.add(gdstk.Label('ack_dn_ch_low', (-0.115,45.41), layer=10, texttype=25))
ackin_sel.add(gdstk.Label('ack_up_in', (-1.615,45.135), layer=10, texttype=25))
ackin_sel.add(gdstk.Label('ch_sel', (-4.525,46.405), layer=10, texttype=25))
ackin_sel.add(gdstk.Label('ch_sel_n', (-4.025,46.405), layer=10, texttype=25))
ackin_sel.add(gdstk.Label('vss', (-3.29,46.405), layer=10, texttype=25))
ackin_sel.add(gdstk.Label('vdd', (-2.35,46.42), layer=10, texttype=25))

lib.write_gds('ackin_sel.gds')
